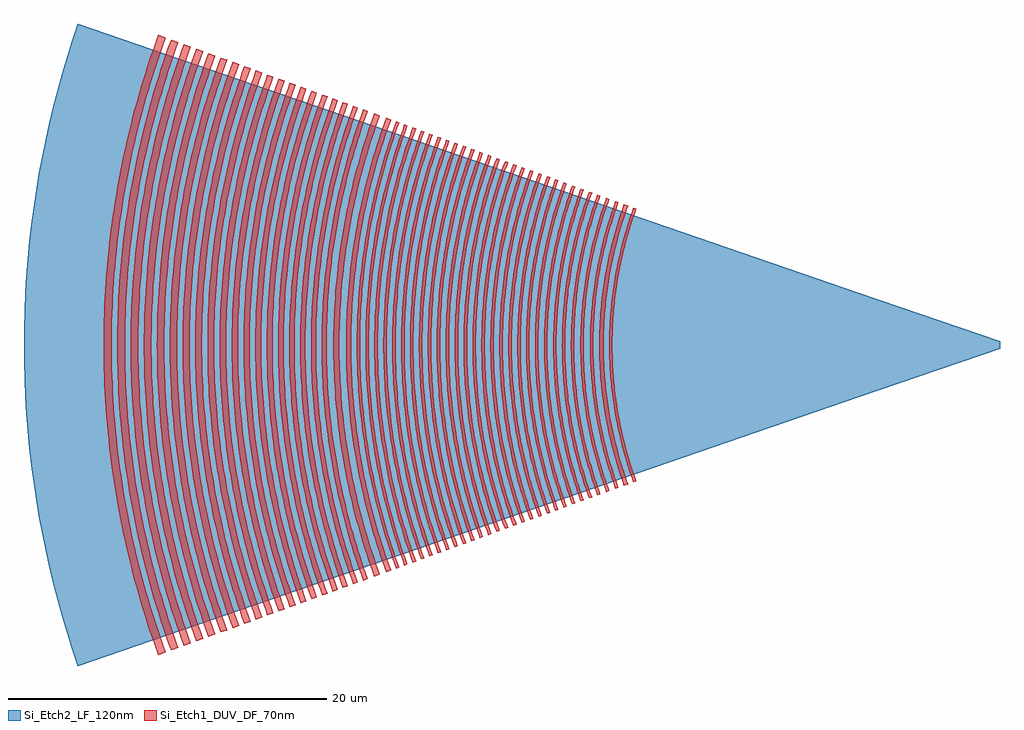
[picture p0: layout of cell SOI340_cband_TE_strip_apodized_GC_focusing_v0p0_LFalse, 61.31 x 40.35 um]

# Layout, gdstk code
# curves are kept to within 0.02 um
import gdstk
lib = gdstk.Library(unit=1e-6, precision=1e-09)
def P(c, l, *ps):  # polygons
    for p in ps: c.add(gdstk.Polygon(p, *l))
Si_Etch2_LF_120nm = (3, 0)
Si_Etch1_DUV_DF_70nm = (6, 0)

soi340_cband_te_strip_ap = lib.new_cell('SOI340_cband_TE_strip_apodized_GC_focusing_v0p0_LFalse')
P(soi340_cband_te_strip_ap, Si_Etch2_LF_120nm, [(-57.933,-20.173),(-58.602,-18.116),(-59.198,-16.037),(-59.955,-12.883),(-60.368,-10.76),(-60.706,-8.623),(-61.073,-5.4),(-61.224,-3.243),(-61.309,0),(-61.224,3.243),(-61.073,5.4),(-60.847,7.551),(-60.368,10.76),(-59.955,12.883),(-59.198,16.037),(-58.602,18.116),(-57.933,20.173),(0,0.225),(0,-0.225)])
P(soi340_cband_te_strip_ap, Si_Etch1_DUV_DF_70nm, [(-23.027,-8.619),(-23.381,-7.578),(-23.745,-6.31),(-24.164,-4.376),(-24.36,-3.071),(-24.451,-2.196),(-24.523,-1.099),(-24.547,0),(-24.523,1.099),(-24.451,2.196),(-24.36,3.071),(-24.164,4.376),(-23.745,6.31),(-23.381,7.578),(-23.027,8.619),(-22.839,8.551),(-23.255,7.309),(-23.551,6.26),(-23.801,5.198),(-24.039,3.911),(-24.27,1.961),(-24.347,0),(-24.27,-1.961),(-24.039,-3.911),(-23.801,-5.198),(-23.551,-6.26),(-23.255,-7.309),(-22.839,-8.551)],
  [(-23.621,-8.834),(-24.05,-7.553),(-24.298,-6.685),(-24.614,-5.371),(-24.786,-4.486),(-24.957,-3.372),(-25.08,-2.252),(-25.154,-1.126),(-25.178,0),(-25.154,1.126),(-25.08,2.252),(-24.957,3.372),(-24.786,4.486),(-24.614,5.371),(-24.298,6.685),(-24.05,7.553),(-23.621,8.834),(-23.356,8.739),(-23.714,7.683),(-24.026,6.613),(-24.291,5.53),(-24.509,4.437),(-24.678,3.335),(-24.8,2.227),(-24.873,1.114),(-24.897,0),(-24.873,-1.114),(-24.8,-2.227),(-24.678,-3.335),(-24.509,-4.437),(-24.291,-5.53),(-24.026,-6.613),(-23.714,-7.683),(-23.356,-8.739)],
  [(-24.157,-9.029),(-24.527,-7.939),(-24.849,-6.834),(-25.123,-5.714),(-25.348,-4.585),(-25.523,-3.446),(-25.648,-2.302),(-25.724,-1.152),(-25.749,0),(-25.724,1.152),(-25.648,2.302),(-25.523,3.446),(-25.348,4.585),(-25.123,5.714),(-24.849,6.834),(-24.527,7.939),(-24.157,9.029),(-23.969,8.962),(-24.404,7.661),(-24.771,6.339),(-25.068,5),(-25.261,3.873),(-25.381,2.966),(-25.485,1.828),(-25.549,0),(-25.485,-1.828),(-25.381,-2.966),(-25.261,-3.873),(-25.068,-5),(-24.771,-6.339),(-24.404,-7.661),(-23.969,-8.962)],
  [(-24.727,-9.237),(-25.106,-8.122),(-25.436,-6.991),(-25.716,-5.846),(-25.946,-4.69),(-26.125,-3.525),(-26.253,-2.354),(-26.33,-1.178),(-26.356,0),(-26.33,1.178),(-26.253,2.354),(-26.125,3.525),(-25.946,4.69),(-25.716,5.846),(-25.436,6.991),(-25.106,8.122),(-24.727,9.237),(-24.539,9.169),(-24.985,7.838),(-25.36,6.486),(-25.618,5.345),(-25.862,3.963),(-25.984,3.035),(-26.091,1.87),(-26.156,0),(-26.091,-1.87),(-25.984,-3.035),(-25.862,-3.963),(-25.618,-5.345),(-25.36,-6.486),(-24.985,-7.838),(-24.539,-9.169)],
  [(-25.287,-9.441),(-25.675,-8.301),(-26.011,-7.145),(-26.245,-6.21),(-26.533,-4.794),(-26.716,-3.603),(-26.847,-2.407),(-26.926,-1.204),(-26.952,0),(-26.926,1.204),(-26.847,2.407),(-26.716,3.603),(-26.533,4.794),(-26.245,6.21),(-26.011,7.145),(-25.675,8.301),(-25.287,9.441),(-25.099,9.373),(-25.484,8.241),(-25.879,6.862),(-26.202,5.464),(-26.415,4.287),(-26.548,3.34),(-26.668,2.15),(-26.726,1.195),(-26.752,0),(-26.726,-1.195),(-26.668,-2.15),(-26.548,-3.34),(-26.415,-4.287),(-26.202,-5.464),(-25.879,-6.862),(-25.484,-8.241),(-25.099,-9.373)],
  [(-25.815,-9.633),(-26.211,-8.47),(-26.554,-7.29),(-26.899,-5.857),(-27.086,-4.89),(-27.273,-3.676),(-27.407,-2.455),(-27.487,-1.229),(-27.514,0),(-27.487,1.229),(-27.407,2.455),(-27.273,3.676),(-27.086,4.89),(-26.899,5.857),(-26.554,7.29),(-26.211,8.47),(-25.815,9.633),(-25.627,9.565),(-26.02,8.41),(-26.423,7.002),(-26.753,5.576),(-26.97,4.375),(-27.106,3.408),(-27.228,2.194),(-27.297,0.976),(-27.314,0),(-27.297,-0.976),(-27.228,-2.194),(-27.106,-3.408),(-26.97,-4.375),(-26.753,-5.576),(-26.423,-7.002),(-26.02,-8.41),(-25.627,-9.565)],
  [(-26.332,-9.821),(-26.735,-8.635),(-27.085,-7.433),(-27.383,-6.215),(-27.628,-4.987),(-27.818,-3.748),(-27.954,-2.502),(-28.037,-1.253),(-28.064,0),(-28.037,1.253),(-27.954,2.502),(-27.818,3.748),(-27.628,4.987),(-27.383,6.215),(-27.085,7.433),(-26.735,8.635),(-26.332,9.821),(-26.144,9.753),(-26.618,8.338),(-26.956,7.14),(-27.292,5.685),(-27.513,4.461),(-27.681,3.228),(-27.776,2.237),(-27.847,0.995),(-27.864,0),(-27.847,-0.995),(-27.776,-2.237),(-27.681,-3.228),(-27.513,-4.461),(-27.292,-5.685),(-26.956,-7.14),(-26.618,-8.338),(-26.144,-9.753)],
  [(-26.869,-10.017),(-27.28,-8.807),(-27.637,-7.581),(-27.94,-6.339),(-28.19,-5.086),(-28.384,-3.823),(-28.523,-2.552),(-28.607,-1.278),(-28.635,0),(-28.607,1.278),(-28.523,2.552),(-28.384,3.823),(-28.19,5.086),(-27.94,6.339),(-27.637,7.581),(-27.28,8.807),(-26.869,10.017),(-26.681,9.949),(-27.089,8.747),(-27.508,7.283),(-27.851,5.799),(-28.077,4.55),(-28.248,3.293),(-28.345,2.282),(-28.407,1.269),(-28.435,0),(-28.407,-1.269),(-28.345,-2.282),(-28.248,-3.293),(-28.077,-4.55),(-27.851,-5.799),(-27.508,-7.283),(-27.089,-8.747),(-26.681,-9.949)],
  [(-27.409,-10.213),(-27.827,-8.979),(-28.192,-7.729),(-28.501,-6.464),(-28.755,-5.186),(-28.953,-3.898),(-29.095,-2.603),(-29.181,-1.303),(-29.209,0),(-29.181,1.303),(-29.095,2.603),(-28.953,3.898),(-28.755,5.186),(-28.501,6.464),(-28.192,7.729),(-27.827,8.979),(-27.409,10.213),(-27.214,10.143),(-27.706,8.67),(-28.057,7.425),(-28.407,5.912),(-28.637,4.639),(-28.781,3.614),(-28.911,2.327),(-28.974,1.294),(-29.002,0),(-28.974,-1.294),(-28.911,-2.327),(-28.781,-3.614),(-28.637,-4.639),(-28.407,-5.912),(-28.057,-7.425),(-27.706,-8.67),(-27.214,-10.143)],
  [(-27.933,-10.404),(-28.359,-9.147),(-28.73,-7.874),(-29.046,-6.585),(-29.305,-5.283),(-29.506,-3.971),(-29.651,-2.651),(-29.738,-1.327),(-29.767,0),(-29.738,1.327),(-29.651,2.651),(-29.506,3.971),(-29.305,5.283),(-29.046,6.585),(-28.73,7.874),(-28.359,9.147),(-27.933,10.404),(-27.745,10.336),(-28.247,8.835),(-28.604,7.566),(-28.907,6.283),(-29.195,4.727),(-29.342,3.683),(-29.474,2.371),(-29.549,1.055),(-29.567,0),(-29.549,-1.055),(-29.474,-2.371),(-29.342,-3.683),(-29.195,-4.727),(-28.907,-6.283),(-28.604,-7.566),(-28.247,-8.835),(-27.745,-10.336)],
  [(-28.45,-10.592),(-28.885,-9.313),(-29.263,-8.016),(-29.584,-6.704),(-29.848,-5.378),(-30.053,-4.042),(-30.2,-2.7),(-30.289,-1.351),(-30.318,0),(-30.289,1.351),(-30.2,2.7),(-30.053,4.042),(-29.848,5.378),(-29.584,6.704),(-29.263,8.016),(-28.885,9.313),(-28.45,10.592),(-28.261,10.524),(-28.693,9.253),(-29.137,7.704),(-29.445,6.397),(-29.738,4.813),(-29.888,3.75),(-30.022,2.414),(-30.088,1.342),(-30.117,0),(-30.088,-1.342),(-30.022,-2.414),(-29.888,-3.75),(-29.738,-4.813),(-29.445,-6.397),(-29.137,-7.704),(-28.693,-9.253),(-28.261,-10.524)],
  [(-28.983,-10.785),(-29.425,-9.483),(-29.811,-8.162),(-30.138,-6.826),(-30.406,-5.476),(-30.615,-4.117),(-30.765,-2.749),(-30.855,-1.376),(-30.885,0),(-30.855,1.376),(-30.765,2.749),(-30.615,4.117),(-30.406,5.476),(-30.138,6.826),(-29.811,8.162),(-29.425,9.483),(-28.983,10.785),(-28.779,10.712),(-29.218,9.418),(-29.67,7.842),(-29.984,6.512),(-30.282,4.9),(-30.435,3.817),(-30.571,2.457),(-30.649,1.093),(-30.668,0),(-30.649,-1.093),(-30.571,-2.457),(-30.435,-3.817),(-30.282,-4.9),(-29.984,-6.512),(-29.67,-7.842),(-29.218,-9.418),(-28.779,-10.712)],
  [(-29.513,-10.978),(-29.963,-9.654),(-30.355,-8.308),(-30.688,-6.948),(-30.962,-5.574),(-31.174,-4.19),(-31.327,-2.798),(-31.419,-1.401),(-31.449,0),(-31.419,1.401),(-31.327,2.798),(-31.174,4.19),(-30.962,5.574),(-30.688,6.948),(-30.355,8.308),(-29.963,9.654),(-29.513,10.978),(-29.312,10.906),(-29.842,9.323),(-30.219,7.984),(-30.595,6.357),(-30.842,4.988),(-31.03,3.61),(-31.137,2.502),(-31.216,1.113),(-31.235,0),(-31.216,-1.113),(-31.137,-2.502),(-31.03,-3.61),(-30.842,-4.988),(-30.595,-6.357),(-30.219,-7.984),(-29.842,-9.323),(-29.312,-10.906)],
  [(-30.04,-11.171),(-30.498,-9.822),(-30.897,-8.453),(-31.236,-7.07),(-31.514,-5.671),(-31.73,-4.264),(-31.886,-2.846),(-31.979,-1.425),(-32.01,0),(-31.979,1.425),(-31.886,2.846),(-31.73,4.264),(-31.514,5.671),(-31.236,7.07),(-30.897,8.453),(-30.498,9.822),(-30.04,11.171),(-29.842,11.099),(-30.297,9.759),(-30.765,8.125),(-31.148,6.47),(-31.399,5.077),(-31.557,3.955),(-31.699,2.546),(-31.768,1.416),(-31.799,0),(-31.768,-1.416),(-31.699,-2.546),(-31.557,-3.955),(-31.399,-5.077),(-31.148,-6.47),(-30.765,-8.125),(-30.297,-9.759),(-29.842,-11.099)],
  [(-30.571,-11.363),(-31.037,-9.992),(-31.443,-8.6),(-31.787,-7.192),(-32.07,-5.77),(-32.291,-4.337),(-32.448,-2.896),(-32.544,-1.449),(-32.575,0),(-32.544,1.449),(-32.448,2.896),(-32.291,4.337),(-32.07,5.77),(-31.787,7.192),(-31.443,8.6),(-31.037,9.992),(-30.571,11.363),(-30.369,11.291),(-30.832,9.927),(-31.308,8.266),(-31.639,6.864),(-31.954,5.164),(-32.148,3.737),(-32.258,2.59),(-32.329,1.44),(-32.36,0),(-32.329,-1.44),(-32.258,-2.59),(-32.148,-3.737),(-31.954,-5.164),(-31.639,-6.864),(-31.308,-8.266),(-30.832,-9.927),(-30.369,-11.291)],
  [(-31.093,-11.553),(-31.567,-10.159),(-31.979,-8.744),(-32.329,-7.312),(-32.617,-5.866),(-32.841,-4.41),(-33.001,-2.945),(-33.098,-1.474),(-33.13,0),(-33.098,1.474),(-33.001,2.945),(-32.841,4.41),(-32.617,5.866),(-32.329,7.312),(-31.979,8.744),(-31.567,10.159),(-31.093,11.553),(-30.9,11.484),(-31.458,9.817),(-31.855,8.407),(-32.251,6.694),(-32.512,5.253),(-32.675,4.092),(-32.821,2.634),(-32.905,1.172),(-32.925,0),(-32.905,-1.172),(-32.821,-2.634),(-32.675,-4.092),(-32.512,-5.253),(-32.251,-6.694),(-31.855,-8.407),(-31.458,-9.817),(-30.9,-11.484)],
  [(-31.624,-11.746),(-32.104,-10.329),(-32.524,-8.889),(-32.88,-7.434),(-33.172,-5.964),(-33.4,-4.483),(-33.563,-2.994),(-33.662,-1.498),(-33.694,0),(-33.662,1.498),(-33.563,2.994),(-33.4,4.483),(-33.172,5.964),(-32.88,7.434),(-32.524,8.889),(-32.104,10.329),(-31.624,11.746),(-31.422,11.674),(-31.989,9.98),(-32.393,8.546),(-32.795,6.805),(-33.06,5.34),(-33.226,4.16),(-33.375,2.678),(-33.448,1.489),(-33.48,0),(-33.448,-1.489),(-33.375,-2.678),(-33.226,-4.16),(-33.06,-5.34),(-32.795,-6.805),(-32.393,-8.546),(-31.989,-9.98),(-31.422,-11.674)],
  [(-32.15,-11.938),(-32.638,-10.497),(-33.065,-9.034),(-33.427,-7.555),(-33.724,-6.061),(-33.955,-4.556),(-34.121,-3.042),(-34.221,-1.522),(-34.254,0),(-34.221,1.522),(-34.121,3.042),(-33.955,4.556),(-33.724,6.061),(-33.427,7.555),(-33.065,9.034),(-32.638,10.497),(-32.15,11.938),(-31.952,11.867),(-32.438,10.434),(-32.939,8.687),(-33.286,7.214),(-33.617,5.428),(-33.821,3.928),(-33.937,2.722),(-34.023,1.211),(-34.044,0),(-34.023,-1.211),(-33.937,-2.722),(-33.821,-3.928),(-33.617,-5.428),(-33.286,-7.214),(-32.939,-8.687),(-32.438,-10.434),(-31.952,-11.867)],
  [(-32.678,-12.131),(-33.175,-10.666),(-33.609,-9.18),(-33.976,-7.677),(-34.278,-6.159),(-34.513,-4.63),(-34.682,-3.091),(-34.783,-1.547),(-34.817,0),(-34.783,1.547),(-34.682,3.091),(-34.513,4.63),(-34.278,6.159),(-33.976,7.677),(-33.609,9.18),(-33.175,10.666),(-32.678,12.131),(-32.478,12.059),(-32.972,10.602),(-33.481,8.828),(-33.834,7.33),(-34.17,5.515),(-34.341,4.297),(-34.495,2.766),(-34.583,1.23),(-34.604,0),(-34.583,-1.23),(-34.495,-2.766),(-34.341,-4.297),(-34.17,-5.515),(-33.834,-7.33),(-33.481,-8.828),(-32.972,-10.602),(-32.478,-12.059)],
  [(-33.206,-12.322),(-33.71,-10.834),(-34.15,-9.326),(-34.524,-7.799),(-34.831,-6.257),(-35.07,-4.703),(-35.241,-3.141),(-35.344,-1.571),(-35.378,0),(-35.344,1.571),(-35.241,3.141),(-35.07,4.703),(-34.831,6.257),(-34.524,7.799),(-34.15,9.326),(-33.71,10.834),(-33.206,12.322),(-33.007,12.251),(-33.602,10.473),(-34.026,8.969),(-34.448,7.141),(-34.726,5.603),(-34.937,4.055),(-35.057,2.81),(-35.133,1.562),(-35.167,0),(-35.133,-1.562),(-35.057,-2.81),(-34.937,-4.055),(-34.726,-5.603),(-34.448,-7.141),(-34.026,-8.969),(-33.602,-10.473),(-33.007,-12.251)],
  [(-33.732,-12.514),(-34.244,-11.003),(-34.691,-9.47),(-35.071,-7.919),(-35.382,-6.353),(-35.625,-4.776),(-35.799,-3.189),(-35.903,-1.596),(-35.938,0),(-35.903,1.596),(-35.799,3.189),(-35.625,4.776),(-35.382,6.353),(-35.071,7.919),(-34.691,9.47),(-34.244,11.003),(-33.732,12.514),(-33.534,12.443),(-34.044,10.94),(-34.569,9.109),(-34.998,7.253),(-35.28,5.691),(-35.457,4.434),(-35.616,2.854),(-35.706,1.27),(-35.728,0),(-35.706,-1.27),(-35.616,-2.854),(-35.457,-4.434),(-35.28,-5.691),(-34.998,-7.253),(-34.569,-9.109),(-34.044,-10.94),(-33.534,-12.443)],
  [(-34.26,-12.707),(-34.78,-11.172),(-35.234,-9.616),(-35.619,-8.041),(-35.936,-6.452),(-36.182,-4.85),(-36.358,-3.238),(-36.465,-1.62),(-36.5,0),(-36.465,1.62),(-36.358,3.238),(-36.182,4.85),(-35.936,6.452),(-35.619,8.041),(-35.234,9.616),(-34.78,11.172),(-34.26,12.707),(-34.06,12.635),(-34.674,10.801),(-35.111,9.249),(-35.481,7.68),(-35.833,5.779),(-36.051,4.182),(-36.174,2.898),(-36.253,1.611),(-36.288,0),(-36.253,-1.611),(-36.174,-2.898),(-36.051,-4.182),(-35.833,-5.779),(-35.481,-7.68),(-35.111,-9.249),(-34.674,-10.801),(-34.06,-12.635)],
  [(-34.782,-12.897),(-35.31,-11.339),(-35.771,-9.759),(-36.162,-8.161),(-36.483,-6.548),(-36.733,-4.922),(-36.912,-3.287),(-37.02,-1.645),(-37.056,0),(-37.02,1.645),(-36.912,3.287),(-36.733,4.922),(-36.483,6.548),(-36.162,8.161),(-35.771,9.759),(-35.31,11.339),(-34.782,12.897),(-34.588,12.827),(-35.211,10.965),(-35.655,9.39),(-36.097,7.477),(-36.388,5.867),(-36.609,4.245),(-36.734,2.942),(-36.827,1.309),(-36.85,0),(-36.827,-1.309),(-36.734,-2.942),(-36.609,-4.245),(-36.388,-5.867),(-36.097,-7.477),(-35.655,-9.39),(-35.211,-10.965),(-34.588,-12.827)],
  [(-35.308,-13.087),(-35.844,-11.508),(-36.311,-9.904),(-36.708,-8.282),(-37.034,-6.645),(-37.287,-4.995),(-37.469,-3.335),(-37.579,-1.669),(-37.615,0),(-37.579,1.669),(-37.469,3.335),(-37.287,4.995),(-37.034,6.645),(-36.708,8.282),(-36.311,9.904),(-35.844,11.508),(-35.308,13.087),(-35.111,13.017),(-35.645,11.445),(-36.194,9.529),(-36.642,7.588),(-36.937,5.954),(-37.122,4.638),(-37.289,2.986),(-37.37,1.66),(-37.406,0),(-37.37,-1.66),(-37.289,-2.986),(-37.122,-4.638),(-36.937,-5.954),(-36.642,-7.588),(-36.194,-9.529),(-35.645,-11.445),(-35.111,-13.017)],
  [(-35.837,-13.28),(-36.382,-11.677),(-36.856,-10.051),(-37.259,-8.404),(-37.589,-6.743),(-37.847,-5.069),(-38.031,-3.385),(-38.142,-1.693),(-38.179,0),(-38.142,1.693),(-38.031,3.385),(-37.847,5.069),(-37.589,6.743),(-37.259,8.404),(-36.856,10.051),(-36.382,11.677),(-35.837,13.28),(-35.636,13.208),(-36.278,11.291),(-36.735,9.669),(-37.19,7.699),(-37.49,6.041),(-37.717,4.372),(-37.846,3.03),(-37.928,1.684),(-37.965,0),(-37.928,-1.684),(-37.846,-3.03),(-37.717,-4.372),(-37.49,-6.041),(-37.19,-7.699),(-36.735,-9.669),(-36.278,-11.291),(-35.636,-13.208)],
  [(-36.354,-13.469),(-36.907,-11.842),(-37.387,-10.193),(-37.795,-8.524),(-38.131,-6.839),(-38.392,-5.14),(-38.579,-3.432),(-38.692,-1.718),(-38.729,0),(-38.692,1.718),(-38.579,3.432),(-38.392,5.14),(-38.131,6.839),(-37.795,8.524),(-37.387,10.193),(-36.907,11.842),(-36.354,13.469),(-36.166,13.401),(-36.716,11.782),(-37.281,9.81),(-37.673,8.146),(-38.047,6.129),(-38.237,4.775),(-38.408,3.074),(-38.492,1.709),(-38.529,0),(-38.492,-1.709),(-38.408,-3.074),(-38.237,-4.775),(-38.047,-6.129),(-37.673,-8.146),(-37.281,-9.81),(-36.716,-11.782),(-36.166,-13.401)],
  [(-36.892,-13.664),(-37.452,-12.015),(-37.939,-10.34),(-38.354,-8.648),(-38.694,-6.937),(-38.959,-5.215),(-39.149,-3.483),(-39.263,-1.743),(-39.301,0),(-39.263,1.743),(-39.149,3.483),(-38.959,5.215),(-38.694,6.937),(-38.354,8.648),(-37.939,10.34),(-37.452,12.015),(-36.892,13.664),(-36.683,13.589),(-37.343,11.617),(-37.813,9.948),(-38.211,8.261),(-38.59,6.215),(-38.824,4.498),(-38.957,3.117),(-39.055,1.387),(-39.079,0),(-39.055,-1.387),(-38.957,-3.117),(-38.824,-4.498),(-38.59,-6.215),(-38.211,-8.261),(-37.813,-9.948),(-37.343,-11.617),(-36.683,-13.589)],
  [(-37.408,-13.853),(-37.977,-12.18),(-38.471,-10.483),(-38.891,-8.766),(-39.236,-7.034),(-39.504,-5.287),(-39.697,-3.531),(-39.813,-1.767),(-39.851,0),(-39.813,1.767),(-39.697,3.531),(-39.504,5.287),(-39.236,7.034),(-38.891,8.766),(-38.471,10.483),(-37.977,12.18),(-37.408,13.853),(-37.22,13.785),(-37.786,12.12),(-38.367,10.091),(-38.842,8.035),(-39.155,6.305),(-39.351,4.912),(-39.527,3.162),(-39.613,1.758),(-39.651,0),(-39.613,-1.758),(-39.527,-3.162),(-39.351,-4.912),(-39.155,-6.305),(-38.842,-8.035),(-38.367,-10.091),(-37.786,-12.12),(-37.22,-13.785)],
  [(-37.925,-14.041),(-38.501,-12.345),(-39.002,-10.626),(-39.428,-8.885),(-39.777,-7.129),(-40.049,-5.359),(-40.245,-3.578),(-40.362,-1.791),(-40.401,0),(-40.362,1.791),(-40.245,3.578),(-40.049,5.359),(-39.777,7.129),(-39.428,8.885),(-39.002,10.626),(-38.501,12.345),(-37.925,14.041),(-37.737,13.973),(-38.416,11.945),(-38.9,10.229),(-39.308,8.494),(-39.641,6.743),(-39.851,5.333),(-40.046,3.561),(-40.162,1.782),(-40.201,0),(-40.162,-1.782),(-40.046,-3.561),(-39.851,-5.333),(-39.641,-6.743),(-39.308,-8.494),(-38.9,-10.229),(-38.416,-11.945),(-37.737,-13.973)],
  [(-38.566,-14.273),(-39.151,-12.549),(-39.66,-10.802),(-40.093,-9.032),(-40.448,-7.247),(-40.725,-5.447),(-40.923,-3.638),(-41.043,-1.821),(-41.082,0),(-41.043,1.821),(-40.923,3.638),(-40.725,5.447),(-40.448,7.247),(-40.093,9.032),(-39.66,10.802),(-39.151,12.549),(-38.566,14.273),(-38.254,14.161),(-38.942,12.105),(-39.521,10.017),(-39.92,8.255),(-40.296,6.12),(-40.485,4.687),(-40.65,2.888),(-40.726,1.445),(-40.751,0),(-40.726,-1.445),(-40.65,-2.888),(-40.485,-4.687),(-40.296,-6.12),(-39.92,-8.255),(-39.521,-10.017),(-38.942,-12.105),(-38.254,-14.161)],
  [(-39.31,-14.543),(-39.906,-12.788),(-40.425,-11.006),(-40.866,-9.204),(-41.228,-7.384),(-41.51,-5.551),(-41.713,-3.707),(-41.834,-1.855),(-41.874,0),(-41.834,1.855),(-41.713,3.707),(-41.51,5.551),(-41.228,7.384),(-40.866,9.204),(-40.425,11.006),(-39.906,12.788),(-39.31,14.543),(-38.956,14.416),(-39.656,12.324),(-40.246,10.197),(-40.724,8.043),(-41.035,6.23),(-41.227,4.772),(-41.368,3.307),(-41.458,1.839),(-41.498,0),(-41.458,-1.839),(-41.368,-3.307),(-41.227,-4.772),(-41.035,-6.23),(-40.724,-8.043),(-40.246,-10.197),(-39.656,-12.324),(-38.956,-14.416)],
  [(-40.005,-14.796),(-40.611,-13.01),(-41.138,-11.198),(-41.588,-9.365),(-41.955,-7.513),(-42.243,-5.647),(-42.449,-3.772),(-42.572,-1.888),(-42.613,0),(-42.572,1.888),(-42.449,3.772),(-42.243,5.647),(-41.955,7.513),(-41.588,9.365),(-41.138,11.198),(-40.611,13.01),(-40.005,14.796),(-39.709,14.69),(-40.311,12.916),(-40.931,10.754),(-41.437,8.563),(-41.77,6.719),(-41.979,5.235),(-42.167,3.37),(-42.273,1.499),(-42.299,0),(-42.273,-1.499),(-42.167,-3.37),(-41.979,-5.235),(-41.77,-6.719),(-41.437,-8.563),(-40.931,-10.754),(-40.311,-12.916),(-39.709,-14.69)],
  [(-40.631,-15.024),(-41.245,-13.211),(-41.782,-11.371),(-42.237,-9.509),(-42.611,-7.629),(-42.903,-5.734),(-43.112,-3.829),(-43.237,-1.917),(-43.279,0),(-43.237,1.917),(-43.112,3.829),(-42.903,5.734),(-42.611,7.629),(-42.237,9.509),(-41.782,11.371),(-41.245,13.211),(-40.631,15.024),(-40.333,14.918),(-40.944,13.116),(-41.574,10.921),(-42.01,9.068),(-42.426,6.823),(-42.683,4.937),(-42.829,3.422),(-42.936,1.522),(-42.963,0),(-42.936,-1.522),(-42.829,-3.422),(-42.683,-4.937),(-42.426,-6.823),(-42.01,-9.068),(-41.574,-10.921),(-40.944,-13.116),(-40.333,-14.918)],
  [(-41.271,-15.258),(-41.896,-13.416),(-42.441,-11.547),(-42.903,-9.656),(-43.283,-7.748),(-43.579,-5.824),(-43.791,-3.888),(-43.919,-1.946),(-43.961,0),(-43.919,1.946),(-43.791,3.888),(-43.579,5.824),(-43.283,7.748),(-42.903,9.656),(-42.441,11.547),(-41.896,13.416),(-41.271,15.258),(-40.964,15.147),(-41.7,12.949),(-42.224,11.089),(-42.746,8.83),(-43.09,6.928),(-43.305,5.397),(-43.498,3.475),(-43.593,1.932),(-43.635,0),(-43.593,-1.932),(-43.498,-3.475),(-43.305,-5.397),(-43.09,-6.928),(-42.746,-8.83),(-42.224,-11.089),(-41.7,-12.949),(-40.964,-15.147)],
  [(-41.915,-15.492),(-42.551,-13.622),(-43.104,-11.724),(-43.573,-9.804),(-43.959,-7.866),(-44.259,-5.913),(-44.475,-3.948),(-44.604,-1.976),(-44.647,0),(-44.604,1.976),(-44.475,3.948),(-44.259,5.913),(-43.959,7.866),(-43.573,9.804),(-43.104,11.724),(-42.551,13.622),(-41.915,15.492),(-41.601,15.379),(-42.232,13.522),(-42.881,11.259),(-43.41,8.965),(-43.759,7.034),(-43.978,5.48),(-44.174,3.528),(-44.286,1.569),(-44.313,0),(-44.286,-1.569),(-44.174,-3.528),(-43.978,-5.48),(-43.759,-7.034),(-43.41,-8.965),(-42.881,-11.259),(-42.232,-13.522),(-41.601,-15.379)],
  [(-42.574,-15.732),(-43.219,-13.832),(-43.781,-11.906),(-44.258,-9.956),(-44.649,-7.988),(-44.954,-6.005),(-45.173,-4.009),(-45.305,-2.006),(-45.348,0),(-45.305,2.006),(-45.173,4.009),(-44.954,6.005),(-44.649,7.988),(-44.258,9.956),(-43.781,11.906),(-43.219,13.832),(-42.574,15.732),(-42.244,15.613),(-42.884,13.727),(-43.543,11.43),(-44.081,9.101),(-44.496,6.747),(-44.704,5.168),(-44.886,3.184),(-44.969,1.593),(-44.997,0),(-44.969,-1.593),(-44.886,-3.184),(-44.704,-5.168),(-44.496,-6.747),(-44.081,-9.101),(-43.543,-11.43),(-42.884,-13.727),(-42.244,-15.613)],
  [(-43.243,-15.974),(-43.897,-14.046),(-44.468,-12.09),(-44.951,-10.11),(-45.35,-8.111),(-45.659,-6.097),(-45.882,-4.071),(-46.015,-2.038),(-46.059,0),(-46.015,2.038),(-45.882,4.071),(-45.659,6.097),(-45.35,8.111),(-44.951,10.11),(-44.468,12.09),(-43.897,14.046),(-43.243,15.974),(-42.904,15.853),(-43.674,13.552),(-44.223,11.606),(-44.768,9.241),(-45.19,6.851),(-45.401,5.247),(-45.556,3.637),(-45.671,1.618),(-45.699,0),(-45.671,-1.618),(-45.556,-3.637),(-45.401,-5.247),(-45.19,-6.851),(-44.768,-9.241),(-44.223,-11.606),(-43.674,-13.552),(-42.904,-15.853)],
  [(-43.921,-16.222),(-44.586,-14.264),(-45.164,-12.277),(-45.656,-10.267),(-46.06,-8.237),(-46.375,-6.191),(-46.601,-4.135),(-46.736,-2.069),(-46.781,0),(-46.736,2.069),(-46.601,4.135),(-46.375,6.191),(-46.06,8.237),(-45.656,10.267),(-45.164,12.277),(-44.586,14.264),(-43.921,16.222),(-43.571,16.096),(-44.353,13.76),(-44.91,11.783),(-45.381,9.785),(-45.83,7.362),(-46.058,5.735),(-46.264,3.692),(-46.364,2.053),(-46.409,0),(-46.364,-2.053),(-46.264,-3.692),(-46.058,-5.735),(-45.83,-7.362),(-45.381,-9.785),(-44.91,-11.783),(-44.353,-13.76),(-43.571,-16.096)],
  [(-44.61,-16.473),(-45.285,-14.485),(-45.874,-12.466),(-46.373,-10.425),(-46.783,-8.365),(-47.103,-6.287),(-47.332,-4.199),(-47.47,-2.101),(-47.515,0),(-47.47,2.101),(-47.332,4.199),(-47.103,6.287),(-46.783,8.365),(-46.373,10.425),(-45.874,12.466),(-45.285,14.485),(-44.61,16.473),(-44.249,16.343),(-45.043,13.971),(-45.609,11.964),(-46.172,9.527),(-46.543,7.475),(-46.775,5.823),(-46.984,3.749),(-47.086,2.084),(-47.131,0),(-47.086,-2.084),(-46.984,-3.749),(-46.824,-5.409),(-46.543,-7.475),(-46.172,-9.527),(-45.609,-11.964),(-45.043,-13.971),(-44.249,-16.343)],
  [(-45.311,-16.728),(-45.996,-14.709),(-46.593,-12.66),(-47.101,-10.587),(-47.517,-8.494),(-47.842,-6.384),(-48.074,-4.263),(-48.214,-2.133),(-48.26,0),(-48.214,2.133),(-48.074,4.263),(-47.842,6.384),(-47.517,8.494),(-47.101,10.587),(-46.593,12.66),(-45.996,14.709),(-45.311,16.728),(-44.939,16.594),(-45.745,14.185),(-46.32,12.148),(-46.891,9.673),(-47.332,7.171),(-47.553,5.492),(-47.747,3.384),(-47.835,1.693),(-47.865,0),(-47.835,-1.693),(-47.747,-3.384),(-47.553,-5.492),(-47.332,-7.171),(-46.891,-9.673),(-46.32,-12.148),(-45.745,-14.185),(-44.939,-16.594)],
  [(-46.021,-16.986),(-46.717,-14.936),(-47.323,-12.855),(-47.838,-10.751),(-48.262,-8.625),(-48.592,-6.483),(-48.827,-4.329),(-48.969,-2.167),(-49.016,0),(-48.969,2.167),(-48.827,4.329),(-48.592,6.483),(-48.262,8.625),(-47.838,10.751),(-47.323,12.855),(-46.717,14.936),(-46.021,16.986),(-45.64,16.849),(-46.458,14.403),(-47.148,11.918),(-47.706,9.4),(-48.07,7.282),(-48.341,5.149),(-48.491,3.436),(-48.581,1.719),(-48.611,0),(-48.581,-1.719),(-48.491,-3.436),(-48.341,-5.149),(-48.07,-7.282),(-47.706,-9.4),(-47.148,-11.918),(-46.458,-14.403),(-45.64,-16.849)],
  [(-46.74,-17.249),(-47.448,-15.166),(-48.064,-13.054),(-48.586,-10.916),(-49.016,-8.758),(-49.35,-6.583),(-49.59,-4.395),(-49.734,-2.201),(-49.782,0),(-49.734,2.201),(-49.59,4.395),(-49.35,6.583),(-49.016,8.758),(-48.586,10.916),(-48.064,13.054),(-47.448,15.166),(-46.74,17.249),(-46.349,17.108),(-47.051,15.041),(-47.773,12.524),(-48.362,9.972),(-48.817,7.393),(-49.044,5.662),(-49.212,3.924),(-49.336,1.746),(-49.366,0),(-49.336,-1.746),(-49.212,-3.924),(-49.044,-5.662),(-48.817,-7.393),(-48.362,-9.972),(-47.773,-12.524),(-47.051,-15.041),(-46.349,-17.108)],
  [(-47.471,-17.514),(-48.189,-15.4),(-48.815,-13.254),(-49.345,-11.085),(-49.781,-8.893),(-50.121,-6.684),(-50.364,-4.463),(-50.511,-2.234),(-50.559,0),(-50.511,2.234),(-50.364,4.463),(-50.121,6.684),(-49.781,8.893),(-49.345,11.085),(-48.815,13.254),(-48.189,15.4),(-47.471,17.514),(-47.069,17.369),(-47.782,15.271),(-48.514,12.716),(-49.112,10.125),(-49.574,7.507),(-49.806,5.749),(-50.008,3.543),(-50.101,1.772),(-50.132,0),(-50.101,-1.772),(-50.008,-3.543),(-49.806,-5.749),(-49.574,-7.507),(-49.112,-10.125),(-48.514,-12.716),(-47.782,-15.271),(-47.069,-17.369)],
  [(-48.211,-17.783),(-48.941,-15.637),(-49.575,-13.458),(-50.115,-11.255),(-50.557,-9.03),(-50.902,-6.787),(-51.149,-4.532),(-51.298,-2.268),(-51.347,0),(-51.298,2.268),(-51.149,4.532),(-50.902,6.787),(-50.557,9.03),(-50.115,11.255),(-49.575,13.458),(-48.941,15.637),(-48.211,17.783),(-47.799,17.635),(-48.523,15.505),(-49.267,12.91),(-49.874,10.28),(-50.343,7.621),(-50.578,5.837),(-50.75,4.046),(-50.878,1.799),(-50.909,0),(-50.878,-1.799),(-50.75,-4.046),(-50.578,-5.837),(-50.343,-7.621),(-49.874,-10.28),(-49.267,-12.91),(-48.523,-15.505),(-47.799,-17.635)],
  [(-48.963,-18.056),(-49.702,-15.877),(-50.347,-13.665),(-50.894,-11.428),(-51.344,-9.168),(-51.694,-6.891),(-51.945,-4.602),(-52.096,-2.303),(-52.146,0),(-52.096,2.303),(-51.945,4.602),(-51.694,6.891),(-51.344,9.168),(-50.894,11.428),(-50.347,13.665),(-49.702,15.877),(-48.963,18.056),(-48.54,17.905),(-49.41,15.306),(-50.03,13.107),(-50.646,10.437),(-51.122,7.738),(-51.36,5.926),(-51.536,4.107),(-51.665,1.827),(-51.697,0),(-51.665,-1.827),(-51.536,-4.107),(-51.36,-5.926),(-51.122,-7.738),(-50.646,-10.437),(-50.03,-13.107),(-49.41,-15.306),(-48.54,-17.905)],
  [(-49.724,-18.333),(-50.475,-16.12),(-51.129,-13.875),(-51.685,-11.604),(-52.142,-9.309),(-52.497,-6.997),(-52.752,-4.672),(-52.905,-2.338),(-52.956,0),(-52.905,2.338),(-52.752,4.672),(-52.497,6.997),(-52.142,9.309),(-51.685,11.604),(-51.129,13.875),(-50.475,16.12),(-49.724,18.333),(-49.291,18.178),(-50.174,15.539),(-50.803,13.307),(-51.429,10.596),(-51.912,7.856),(-52.205,5.556),(-52.367,3.707),(-52.464,1.855),(-52.496,0),(-52.464,-1.855),(-52.367,-3.707),(-52.205,-5.556),(-51.912,-7.856),(-51.429,-10.596),(-50.803,-13.307),(-50.174,-15.539),(-49.291,-18.178)],
  [(-50.495,-18.614),(-51.258,-16.368),(-51.922,-14.088),(-52.487,-11.781),(-52.95,-9.452),(-53.311,-7.104),(-53.57,-4.744),(-53.726,-2.375),(-53.777,0),(-53.726,2.375),(-53.57,4.744),(-53.311,7.104),(-52.95,9.452),(-52.487,11.781),(-51.922,14.088),(-51.258,16.368),(-50.495,18.614),(-50.052,18.455),(-50.948,15.776),(-51.703,13.054),(-52.315,10.296),(-52.713,7.976),(-52.959,6.108),(-53.175,3.764),(-53.273,1.883),(-53.306,0),(-53.273,-1.883),(-53.175,-3.764),(-52.959,-6.108),(-52.713,-7.976),(-52.315,-10.296),(-51.703,-13.054),(-50.948,-15.776),(-50.052,-18.455)],
  [(-51.277,-18.899),(-52.052,-16.618),(-52.726,-14.303),(-53.299,-11.961),(-53.77,-9.596),(-54.136,-7.213),(-54.399,-4.816),(-54.557,-2.41),(-54.609,0),(-54.557,2.41),(-54.399,4.816),(-54.136,7.213),(-53.77,9.596),(-53.299,11.961),(-52.726,14.303),(-52.052,16.618),(-51.277,18.899),(-50.823,18.736),(-51.733,16.016),(-52.5,13.252),(-53.121,10.453),(-53.525,8.097),(-53.775,6.201),(-53.994,3.821),(-54.094,1.912),(-54.127,0),(-54.094,-1.912),(-53.994,-3.821),(-53.775,-6.201),(-53.525,-8.097),(-53.121,-10.453),(-52.5,-13.252),(-51.733,-16.016),(-50.823,-18.736)],
  [(-52.07,-19.187),(-52.856,-16.872),(-53.541,-14.521),(-54.123,-12.144),(-54.601,-9.743),(-54.973,-7.323),(-55.239,-4.89),(-55.4,-2.447),(-55.453,0),(-55.4,2.447),(-55.239,4.89),(-54.973,7.323),(-54.601,9.743),(-54.123,12.144),(-53.541,14.521),(-52.856,16.872),(-52.07,19.187),(-51.605,19.02),(-52.385,16.723),(-53.188,13.924),(-53.843,11.087),(-54.348,8.22),(-54.602,6.295),(-54.824,3.879),(-54.925,1.941),(-54.959,0),(-54.925,-1.941),(-54.824,-3.879),(-54.602,-6.295),(-54.348,-8.22),(-53.843,-11.087),(-53.188,-13.924),(-52.385,-16.723),(-51.605,-19.02)],
  [(-52.874,-19.48),(-53.673,-17.129),(-54.368,-14.743),(-54.959,-12.328),(-55.443,-9.891),(-55.822,-7.435),(-56.092,-4.964),(-56.255,-2.485),(-56.309,0),(-56.255,2.485),(-56.092,4.964),(-55.822,7.435),(-55.443,9.891),(-54.959,12.328),(-54.368,14.743),(-53.673,17.129),(-52.874,19.48),(-52.398,19.309),(-53.19,16.977),(-54.005,14.135),(-54.67,11.256),(-55.183,8.345),(-55.44,6.391),(-55.629,4.429),(-55.769,1.97),(-55.803,0),(-55.769,-1.97),(-55.629,-4.429),(-55.44,-6.391),(-55.183,-8.345),(-54.67,-11.256),(-54.005,-14.135),(-53.19,-16.977),(-52.398,-19.309)])

lib.write_gds('SOI340_cband_TE_strip_apodized_GC_focusing_v0p0_LFalse.gds')
